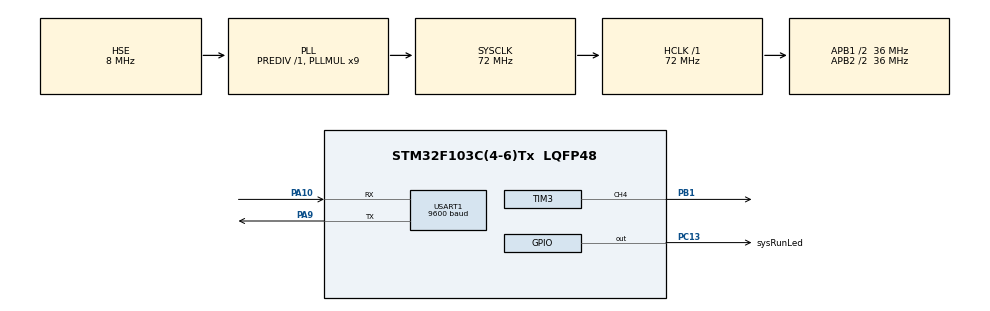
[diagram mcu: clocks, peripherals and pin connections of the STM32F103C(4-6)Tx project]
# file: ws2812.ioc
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Dma.Request0=USART1_RX
Dma.Request1=USART1_TX
Dma.Request2=TIM3_CH4/UP
Dma.TIM3_CH4/UP.2.Direction=DMA_MEMORY_TO_PERIPH
Dma.TIM3_CH4/UP.2.Instance=DMA1_Channel3
Dma.TIM3_CH4/UP.2.MemDataAlignment=DMA_MDATAALIGN_HALFWORD
Dma.TIM3_CH4/UP.2.MemInc=DMA_MINC_ENABLE
Dma.TIM3_CH4/UP.2.Mode=DMA_NORMAL
Dma.TIM3_CH4/UP.2.PeriphDataAlignment=DMA_PDATAALIGN_HALFWORD
Dma.TIM3_CH4/UP.2.PeriphInc=DMA_PINC_DISABLE
Dma.TIM3_CH4/UP.2.Priority=DMA_PRIORITY_LOW
Dma.USART1_RX.0.Direction=DMA_PERIPH_TO_MEMORY
Dma.USART1_RX.0.Instance=DMA1_Channel5
Dma.USART1_RX.0.MemDataAlignment=DMA_MDATAALIGN_BYTE
Dma.USART1_RX.0.MemInc=DMA_MINC_ENABLE
Dma.USART1_RX.0.Mode=DMA_NORMAL
Dma.USART1_RX.0.PeriphDataAlignment=DMA_PDATAALIGN_BYTE
Dma.USART1_RX.0.PeriphInc=DMA_PINC_DISABLE
Dma.USART1_RX.0.Priority=DMA_PRIORITY_LOW
Dma.USART1_TX.1.Direction=DMA_MEMORY_TO_PERIPH
Dma.USART1_TX.1.Instance=DMA1_Channel4
Dma.USART1_TX.1.MemDataAlignment=DMA_MDATAALIGN_BYTE
Dma.USART1_TX.1.MemInc=DMA_MINC_ENABLE
Dma.USART1_TX.1.Mode=DMA_NORMAL
Dma.USART1_TX.1.PeriphDataAlignment=DMA_PDATAALIGN_BYTE
Dma.USART1_TX.1.PeriphInc=DMA_PINC_DISABLE
Dma.USART1_TX.1.Priority=DMA_PRIORITY_LOW
FREERTOS.Tasks01=defaultTask,0,128,StartDefaultTask,Default,NULL,Dynamic,NULL,NULL
Mcu.Family=STM32F1
Mcu.Name=STM32F103C(4-6)Tx
Mcu.Package=LQFP48
NVIC.DMA1_Channel3_IRQn=true\:5\:0\:false\:false\:true\:true\:false\:true\:true
NVIC.DMA1_Channel4_IRQn=true\:5\:0\:false\:false\:true\:true\:false\:true\:true
NVIC.DMA1_Channel5_IRQn=true\:5\:0\:false\:false\:true\:true\:false\:true\:true
NVIC.PriorityGroup=NVIC_PRIORITYGROUP_4
NVIC.TIM1_UP_IRQn=true\:15\:0\:false\:false\:true\:false\:false\:true\:true
NVIC.TIM2_IRQn=true\:5\:0\:false\:false\:true\:true\:true\:true\:true
NVIC.TimeBase=TIM1_UP_IRQn
NVIC.TimeBaseIP=TIM1
NVIC.USART1_IRQn=true\:5\:0\:false\:false\:true\:true\:true\:true\:true
PA10.GPIO_Mode=GPIO_MODE_INPUT
PA10.GPIO_PuPd=GPIO_NOPULL
PA10.Mode=Asynchronous
PA10.Signal=USART1_RX
PA13.Mode=Serial_Wire
PA13.Signal=SYS_JTMS-SWDIO
PA14.Mode=Serial_Wire
PA14.Signal=SYS_JTCK-SWCLK
PA9.GPIO_Mode=GPIO_MODE_AF_PP
PA9.GPIO_Speed=GPIO_SPEED_FREQ_HIGH
PA9.Mode=Asynchronous
PA9.Signal=USART1_TX
PB1.Signal=S_TIM3_CH4
PC13-TAMPER-RTC.GPIO_Label=sysRunLed
PC13-TAMPER-RTC.PinState=GPIO_PIN_SET
PC13-TAMPER-RTC.Signal=GPIO_Output
PC14-OSC32_IN.Mode=LSE-External-Oscillator
PC14-OSC32_IN.Signal=RCC_OSC32_IN
PC15-OSC32_OUT.Mode=LSE-External-Oscillator
PC15-OSC32_OUT.Signal=RCC_OSC32_OUT
PD0-OSC_IN.Mode=HSE-External-Oscillator
PD0-OSC_IN.Signal=RCC_OSC_IN
PD1-OSC_OUT.Mode=HSE-External-Oscillator
PD1-OSC_OUT.Signal=RCC_OSC_OUT
ProjectManager.HeapSize=0x200
ProjectManager.StackSize=0x400
ProjectManager.TargetToolchain=STM32CubeIDE
RCC.AHBFreq_Value=72000000
RCC.APB1CLKDivider=RCC_HCLK_DIV2
RCC.APB1Freq_Value=36000000
RCC.APB1TimFreq_Value=72000000
RCC.APB2CLKDivider=RCC_HCLK_DIV2
RCC.APB2Freq_Value=36000000
RCC.APB2TimFreq_Value=72000000
RCC.HCLKFreq_Value=72000000
RCC.PLLMUL=RCC_PLL_MUL9
RCC.PLLSourceVirtual=RCC_PLLSOURCE_HSE
RCC.SYSCLKFreq_VALUE=72000000
RCC.SYSCLKSource=RCC_SYSCLKSOURCE_PLLCLK
RCC.USBFreq_Value=72000000
SH.S_TIM3_CH4.0=TIM3_CH4,PWM Generation4 CH4
TIM2.Period=9999
TIM2.Prescaler=7199
TIM3.Channel-PWM\ Generation4\ CH4=TIM_CHANNEL_4
TIM3.Period=89
USART1.BaudRate=9600
USART1.VirtualMode=VM_ASYNC
VP_FREERTOS_VS_CMSIS_V1.Mode=CMSIS_V1
VP_SYS_VS_tim1.Mode=TIM1
VP_TIM2_VS_ClockSourceINT.Mode=Internal
VP_TIM3_VS_ClockSourceINT.Mode=Internal
board=custom

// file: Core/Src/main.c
/* USER CODE BEGIN Header */
/**
  ******************************************************************************
  * @file           : main.c
  * @brief          : Main program body
  ******************************************************************************
  * @attention
  *
  * Copyright (c) 2022 STMicroelectronics.
  * All rights reserved.
  *
  * This software is licensed under terms that can be found in the LICENSE file
  * in the root directory of this software component.
  * If no LICENSE file comes with this software, it is provided AS-IS.
  *
  ******************************************************************************
  */
/* USER CODE END Header */
#include "main.h"
#include "cmsis_os.h"
#include "dma.h"
#include "tim.h"
#include "usart.h"
#include "gpio.h"

/* USER CODE BEGIN Includes */
#include "all_header.h"
#define NUM 24
unsigned short sendBuf[NUM] = {0};

/* USER CODE END Includes */

void SystemClock_Config(void);
void MX_FREERTOS_Init(void);

int main(void)
{

  /* MCU Configuration--------------------------------------------------------*/

  /* Reset of all peripherals, Initializes the Flash interface and the Systick. */
  HAL_Init();

  /* USER CODE BEGIN Init */
  ispSendQueue_init(&ispSQ, ispSN);
  timer_init();

  /* USER CODE END Init */

  /* Configure the system clock */
  SystemClock_Config();

  /* Initialize all configured peripherals */
  MX_GPIO_Init();
  MX_DMA_Init();
  MX_TIM2_Init();
  MX_USART1_UART_Init();
  MX_TIM3_Init();
  /* USER CODE BEGIN 2 */
  __HAL_TIM_CLEAR_FLAG(&htim2, TIM_FLAG_UPDATE);
  HAL_TIM_Base_Start_IT(&htim2);

//  // __HAL_UART_CLEAR_FLAG(&huart1, UART_FLAG_IDLE);
//  __HAL_UART_CLEAR_FLAG(&huart1, UART_FLAG_TC);
//  HAL_UART_DMAStop(&huart1);                                      /// 停止串口DMA
//  __HAL_UART_ENABLE_IT(&huart1, UART_IT_RXNE);                    /// 使能串口接收中断
//  __HAL_UART_ENABLE_IT(&huart1, UART_IT_IDLE);                    /// 使能串口空闲中断
//  HAL_UART_Receive_DMA(&huart1, isp_recv_msg, ISP_MSG_MAX);       /// 设置窗口DMA接收存储空间

  __led_biz led_run;
  led_run.id = LED_RUN;
  led_run.t_off = 1;
  led_run.t_on = 1;
  led_run.cycles = 10;
  led_run.style = LED_BIZ_UNBLOCK;

 ispSendQueue_push(&ispSQ, 10, "0123456789");

  // WS_WriteAll_RGB(0xFF, 0xFF, 0x00);
  // WS281x_SetPixelRGB(1, 0xF0, 0x00, 0x00);
  // WS281x_SetPixelRGB(2, 0x00, 0xFF, 0x00);
  // WS281x_SetPixelRGB(3, 0x00, 0x00, 0xFF);
  // WS281x_SetPixelRGB(4, 0xFF, 0xFF, 0x00);
  // WS281x_SetPixelRGB(5, 0xFF, 0x00, 0xFF);
  // WS281x_SetPixelRGB(6, 0x00, 0xFF, 0xFF);
  // WS281x_SetPixelRGB(7, 0xFF, 0xFF, 0xFF);

  /* USER CODE END 2 */

  /* Call init function for freertos objects (in freertos.c) */
  MX_FREERTOS_Init();

  /* Start scheduler */
  osKernelStart();

  /* We should never get here as control is now taken by the scheduler */
  /* Infinite loop */
  while (1)
  {

    /* USER CODE BEGIN 3 */
    // textMsg_recv_thread();
    // textMsg_send_thread();
    rainbowCycle(20);

    execute_led_biz(&led_run);
  }
  /* USER CODE END 3 */
}

void SystemClock_Config(void)
{
  RCC_OscInitTypeDef RCC_OscInitStruct = {0};
  RCC_ClkInitTypeDef RCC_ClkInitStruct = {0};

  /** Initializes the RCC Oscillators according to the specified parameters
  * in the RCC_OscInitTypeDef structure.
  */
  RCC_OscInitStruct.OscillatorType = RCC_OSCILLATORTYPE_HSE;
  RCC_OscInitStruct.HSEState = RCC_HSE_ON;
  RCC_OscInitStruct.HSEPredivValue = RCC_HSE_PREDIV_DIV1;
  RCC_OscInitStruct.HSIState = RCC_HSI_ON;
  RCC_OscInitStruct.PLL.PLLState = RCC_PLL_ON;
  RCC_OscInitStruct.PLL.PLLSource = RCC_PLLSOURCE_HSE;
  RCC_OscInitStruct.PLL.PLLMUL = RCC_PLL_MUL9;
  if (HAL_RCC_OscConfig(&RCC_OscInitStruct) != HAL_OK)
  {
    Error_Handler();
  }

  /** Initializes the CPU, AHB and APB buses clocks
  */
  RCC_ClkInitStruct.ClockType = RCC_CLOCKTYPE_HCLK|RCC_CLOCKTYPE_SYSCLK
                              |RCC_CLOCKTYPE_PCLK1|RCC_CLOCKTYPE_PCLK2;
  RCC_ClkInitStruct.SYSCLKSource = RCC_SYSCLKSOURCE_PLLCLK;
  RCC_ClkInitStruct.AHBCLKDivider = RCC_SYSCLK_DIV1;
  RCC_ClkInitStruct.APB1CLKDivider = RCC_HCLK_DIV2;
  RCC_ClkInitStruct.APB2CLKDivider = RCC_HCLK_DIV2;

  if (HAL_RCC_ClockConfig(&RCC_ClkInitStruct, FLASH_LATENCY_2) != HAL_OK)
  {
    Error_Handler();
  }
}

/* USER CODE BEGIN 4 */
void HAL_TIM_PWM_PulseFinishedCallback(TIM_HandleTypeDef *htim)
{
  HAL_TIM_PWM_Stop_DMA(&htim3, TIM_CHANNEL_4);
}

/* USER CODE END 4 */

void HAL_TIM_PeriodElapsedCallback(TIM_HandleTypeDef *htim)
{
  if (htim->Instance == TIM1) {
    HAL_IncTick();
  }
}

void Error_Handler(void)
{
  __disable_irq();
  while (1)
  {
  }
}
